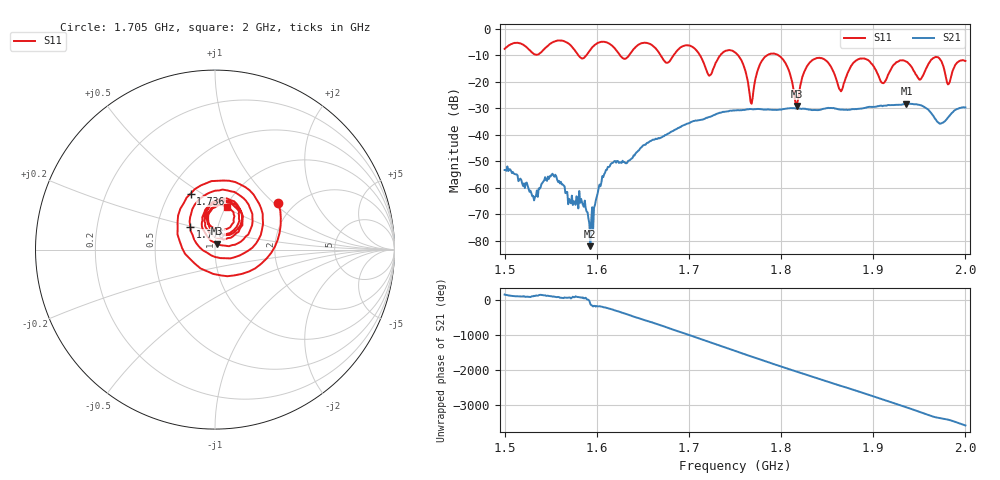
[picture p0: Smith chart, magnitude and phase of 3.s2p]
! NanoVNA-App by SYSJOINT et al v1.1.209 (+OD18)
! Date: 2026-01-21 14:41:46
! Start: 1,5GHz Stop: 2GHz Points: 501
! S-Parameter data: F S11 S21 S12 S22
# Hz S RI R 50
!  Frequency  S11_Real  S11_Imag  S21_Real  S21_Imag  S12_Real  S12_Imag  S22_Real  S22_Imag
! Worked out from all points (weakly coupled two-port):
!   501 points, 1.5 GHz to 2 GHz, reference 50 ohm
!   highest |S21| = -28.29 dB at 1.936 GHz (marker M1); lowest = -82.0 dB at 1.593 GHz (marker M2)
!   lowest |S11| = -29.2 dB at 1.817 GHz (marker M3), VSWR 1.07, Z = 50.8 + j3.39 ohm
!   |S11| at or under -10 dB: 1.712 GHz to 1.734 GHz (22.45 MHz wide, 1.3 % of centre); 1.753 GHz to 1.785 GHz (32.29 MHz wide, 1.83 % of centre); 1.797 GHz to end of sweep (the widest 3 of 6)
!   S12 and S22 are empty: the file has one direction only
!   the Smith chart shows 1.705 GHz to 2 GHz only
!   S11 on the Smith chart (normalised r, x): 1.705 GHz: 1.65, +1.07; 1.736 GHz: 0.64, +0.45; 1.776 GHz: 0.74, +0.20; 2 GHz: 1.02, +0.51
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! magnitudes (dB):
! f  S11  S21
! 1.5 GHz  -7.7  -53.3
! 1.584 GHz  -11.3  -65.4
! 1.593 GHz  -8.0  -82.0
! 1.614 GHz  -5.8  -52.0
! 1.667 GHz  -8.8  -41.3
! 1.705 GHz  -7.2  -34.8
! 1.722 GHz  -17.8  -33.3
! 1.736 GHz  -9.4  -31.5
! 1.75 GHz  -9.0  -30.8
! 1.767 GHz  -27.7  -30.3
! 1.776 GHz  -14.5  -30.3
! 1.8 GHz  -10.8  -30.5
! 1.817 GHz  -29.2  -30.1
! 1.834 GHz  -11.9  -30.7
! 1.865 GHz  -23.7  -30.5
! 1.885 GHz  -11.4  -30.2
! 1.917 GHz  -16.8  -28.8
! 1.936 GHz  -12.5  -28.3
! 1.951 GHz  -19.2  -28.9
! 1.97 GHz  -10.8  -35.3
! 1.982 GHz  -20.9  -33.2
! 2 GHz  -12.2  -29.7
